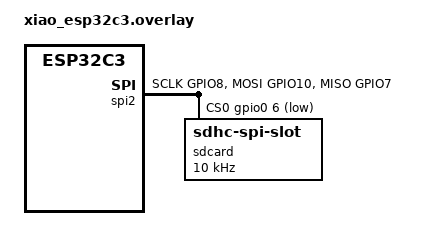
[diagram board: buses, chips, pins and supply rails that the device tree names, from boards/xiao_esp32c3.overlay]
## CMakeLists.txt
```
cmake_minimum_required(VERSION 3.20.0)

find_package(Zephyr REQUIRED HINTS $ENV{ZEPHYR_BASE})
project(xiao_sd_card_smoke)

target_sources(app PRIVATE src/main.c)
```

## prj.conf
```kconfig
CONFIG_SERIAL=y
CONFIG_CONSOLE=y
CONFIG_PRINTK=y
CONFIG_MAIN_STACK_SIZE=4096

CONFIG_SDHC=y
CONFIG_SPI_SDHC=y
CONFIG_SDMMC_STACK=y
CONFIG_DISK_ACCESS=y
```

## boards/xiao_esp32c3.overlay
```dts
/*
 * Diagnostic-only XIAO ESP32-C3 SPI SD-card smoke-test overlay.
 *
 * This checks the documented bench wiring without enabling SquidScript SD
 * storage. The SD breakout shares SCK/MOSI with the e-paper panel wiring.
 */

#include <zephyr/dt-bindings/gpio/gpio.h>
#include <zephyr/dt-bindings/pinctrl/esp32c3-pinctrl.h>

/ {
	chosen {
		zephyr,console = &usb_serial;
	};

	aliases {
		sdhc0 = &sdcard;
	};
};

&pinctrl {
	spim2_sd_default: spim2_sd_default {
		group1 {
			pinmux = <SPIM2_SCLK_GPIO8>,
				 <SPIM2_MOSI_GPIO10>,
				 <SPIM2_MISO_GPIO7>;
			output-low;
		};
	};
};

&spi2 {
	status = "okay";
	pinctrl-0 = <&spim2_sd_default>;
	pinctrl-names = "default";
	cs-gpios = <&gpio0 6 GPIO_ACTIVE_LOW>;

	sdcard: sdcard@0 {
		compatible = "zephyr,sdhc-spi-slot";
		reg = <0>;
		status = "okay";
		spi-max-frequency = <10000>;

		sdmmc {
			compatible = "zephyr,sdmmc-disk";
			disk-name = "SD";
			status = "okay";
		};
	};
};
```

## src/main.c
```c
/*
 * Diagnostic-only XIAO ESP32-C3 SPI SD-card smoke test.
 *
 * This app proves the bench wiring by initializing the SD card and reading one
 * sector. It is read-only and does not exercise SquidScript SD storage.
 */

#include <stdint.h>

#include <zephyr/device.h>
#include <zephyr/drivers/disk.h>
#include <zephyr/kernel.h>
#include <zephyr/sd/sd.h>
#include <zephyr/sd/sdmmc.h>

#define SD_SMOKE_READ_BLOCK 0U
#define SD_SMOKE_READ_BLOCKS 1U
#define SD_SMOKE_SECTOR_SIZE 512U

static const struct device *const sdhc_dev = DEVICE_DT_GET(DT_ALIAS(sdhc0));
static struct sd_card card;
static uint8_t block[SD_SMOKE_SECTOR_SIZE] __aligned(CONFIG_SDHC_BUFFER_ALIGNMENT);

static void print_fail(const char *step, int code)
{
	printk("SD_CARD_SMOKE_FAIL step=%s code=%d\n", step, code);
}

int main(void)
{
	uint32_t sector_count = 0;
	uint32_t sector_size = 0;
	int ret;

	printk("SD_CARD_SMOKE_START diagnostic-only XIAO ESP32-C3 SPI SD-card wiring check\n");
	printk("SD_CARD_SMOKE_WIRING sck=D8/GPIO8 mosi=D10/GPIO10 miso=D5/GPIO7 cs=D4/GPIO6\n");

	if (!device_is_ready(sdhc_dev)) {
		print_fail("device_ready", -ENODEV);
		return 0;
	}

	printk("SD_CARD_SMOKE_SDHC_READY\n");

	if (!sd_is_card_present(sdhc_dev)) {
		print_fail("card_present", -ENODEV);
		return 0;
	}

	printk("SD_CARD_SMOKE_CARD_PRESENT\n");

	ret = sd_init(sdhc_dev, &card);
	if (ret != 0) {
		print_fail("sd_init", ret);
		return 0;
	}

	printk("SD_CARD_SMOKE_INIT_OK\n");

	ret = sdmmc_ioctl(&card, DISK_IOCTL_GET_SECTOR_COUNT, &sector_count);
	if (ret != 0) {
		print_fail("sector_count", ret);
		return 0;
	}

	ret = sdmmc_ioctl(&card, DISK_IOCTL_GET_SECTOR_SIZE, &sector_size);
	if (ret != 0) {
		print_fail("sector_size", ret);
		return 0;
	}

	printk("SD_CARD_SMOKE_INFO sectors=%u sector_size=%u\n", sector_count, sector_size);

	ret = sdmmc_read_blocks(&card, block, SD_SMOKE_READ_BLOCK, SD_SMOKE_READ_BLOCKS);
	if (ret != 0) {
		print_fail("read_block0", ret);
		return 0;
	}

	printk("SD_CARD_SMOKE_READ0_OK first_bytes=%02x%02x%02x%02x\n",
	       block[0], block[1], block[2], block[3]);
	printk("SD_CARD_SMOKE_READY sectors=%u sector_size=%u\n", sector_count, sector_size);

	return 0;
}
```
